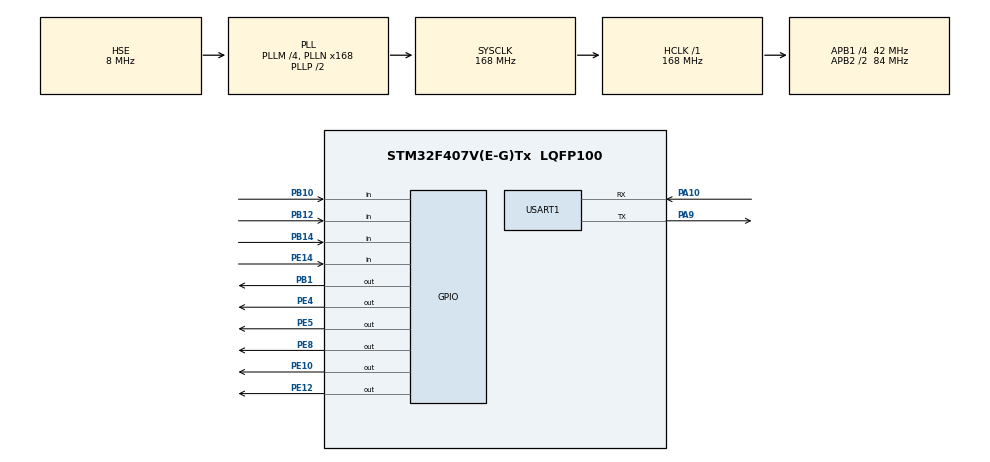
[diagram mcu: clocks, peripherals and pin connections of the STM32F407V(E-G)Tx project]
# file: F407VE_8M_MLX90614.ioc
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Mcu.Family=STM32F4
PE12.GPIO_ModeDefaultOutputPP=GPIO_MODE_OUTPUT_PP
PE8.PinState=GPIO_PIN_SET
PH0-OSC_IN.Signal=RCC_OSC_IN
PE4.GPIO_ModeDefaultOutputPP=GPIO_MODE_OUTPUT_PP
RCC.CortexFreq_Value=168000000
PB10.GPIO_PuPd=GPIO_PULLDOWN
PE8.GPIO_PuPd=GPIO_PULLUP
PE10.GPIO_PuPd=GPIO_PULLUP
RCC.SYSCLKSource=RCC_SYSCLKSOURCE_PLLCLK
ProjectManager.StackSize=0x400
PE5.GPIO_PuPd=GPIO_PULLUP
PB1.GPIO_PuPd=GPIO_PULLUP
RCC.HCLKFreq_Value=168000000
RCC.APB2TimFreq_Value=168000000
PE5.Signal=GPIO_Output
RCC.AHBFreq_Value=168000000
PH0-OSC_IN.Mode=HSE-External-Oscillator
RCC.HSE_VALUE=8000000
PC14-OSC32_IN.Mode=LSE-External-Oscillator
PB1.GPIO_Speed=GPIO_SPEED_FREQ_VERY_HIGH
PA14.Mode=Serial_Wire
PE4.GPIO_Speed=GPIO_SPEED_FREQ_VERY_HIGH
PE5.PinState=GPIO_PIN_SET
PE10.GPIO_ModeDefaultOutputPP=GPIO_MODE_OUTPUT_PP
PE10.GPIO_Speed=GPIO_SPEED_FREQ_VERY_HIGH
PE4.Signal=GPIO_Output
PE10.Signal=GPIO_Output
PB1.PinState=GPIO_PIN_SET
PH1-OSC_OUT.Mode=HSE-External-Oscillator
PB12.GPIO_Mode=GPIO_MODE_INPUT
Mcu.Package=LQFP100
PB1.Signal=GPIO_Output
PB14.GPIO_PuPd=GPIO_PULLDOWN
PA10.Signal=USART1_RX
PE12.GPIO_Speed=GPIO_SPEED_FREQ_VERY_HIGH
PE8.GPIO_Speed=GPIO_SPEED_FREQ_VERY_HIGH
RCC.APB2CLKDivider=RCC_HCLK_DIV2
RCC.APB1TimFreq_Value=84000000
PE8.GPIO_ModeDefaultOutputPP=GPIO_MODE_OUTPUT_PP
PE14.GPIO_Mode=GPIO_MODE_INPUT
NVIC.USART1_IRQn=true\:0\:0\:false\:false\:true\:true\:true
PE12.GPIO_PuPd=GPIO_PULLUP
PE10.PinState=GPIO_PIN_SET
RCC.PLLSourceVirtual=RCC_PLLSOURCE_HSE
PC15-OSC32_OUT.Mode=LSE-External-Oscillator
PA10.Mode=Asynchronous
RCC.APB1CLKDivider=RCC_HCLK_DIV4
PC14-OSC32_IN.Signal=RCC_OSC32_IN
PA13.Signal=SYS_JTMS-SWDIO
PA9.Mode=Asynchronous
PB10.GPIO_Mode=GPIO_MODE_INPUT
ProjectManager.TargetToolchain=MDK-ARM V5.27
PA9.Signal=USART1_TX
PC15-OSC32_OUT.Signal=RCC_OSC32_OUT
PB10.Signal=GPIO_Input
PB14.Signal=GPIO_Input
board=custom
RCC.VCOOutputFreq_Value=336000000
RCC.APB2Freq_Value=84000000
PE14.Signal=GPIO_Input
PE8.Signal=GPIO_Output
PH1-OSC_OUT.Signal=RCC_OSC_OUT
PE14.GPIO_PuPd=GPIO_PULLDOWN
PA13.Mode=Serial_Wire
Mcu.Name=STM32F407V(E-G)Tx
PE12.Signal=GPIO_Output
PE4.GPIO_PuPd=GPIO_PULLUP
PE12.PinState=GPIO_PIN_SET
RCC.48MHZClocksFreq_Value=84000000
RCC.SYSCLKFreq_VALUE=168000000
USART1.VirtualMode=VM_ASYNC
PA14.Signal=SYS_JTCK-SWCLK
ProjectManager.HeapSize=0x200
PE5.GPIO_ModeDefaultOutputPP=GPIO_MODE_OUTPUT_PP
RCC.HSI_VALUE=16000000
NVIC.PriorityGroup=NVIC_PRIORITYGROUP_4
RCC.PLLM=4
RCC.PLLN=168
PE5.GPIO_Speed=GPIO_SPEED_FREQ_VERY_HIGH
PE4.PinState=GPIO_PIN_SET
PB1.GPIO_ModeDefaultOutputPP=GPIO_MODE_OUTPUT_PP
PB12.GPIO_PuPd=GPIO_PULLDOWN
RCC.APB1Freq_Value=42000000
PB14.GPIO_Mode=GPIO_MODE_INPUT
PB12.Signal=GPIO_Input

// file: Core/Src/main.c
/* USER CODE BEGIN Header */
/**
  ******************************************************************************
  * @file           : main.c
  * @brief          : Main program body
  ******************************************************************************
  * @attention
  *
  * <h2><center>&copy; Copyright (c) 2021 STMicroelectronics.
  * All rights reserved.</center></h2>
  *
  * This software component is licensed by ST under BSD 3-Clause license,
  * the "License"; You may not use this file except in compliance with the
  * License. You may obtain a copy of the License at:
  *                        opensource.org/licenses/BSD-3-Clause
  *
  ******************************************************************************
  */
/* USER CODE END Header */
#include "main.h"
#include "usart.h"
#include "gpio.h"

/* USER CODE BEGIN Includes */
#include "Delay/delay.h"
#include "MLX90614/mlx90614.h"
#include "OLED/oled_iic.h"
/* USER CODE END Includes */

void SystemClock_Config(void);

int main(void)
{
  /* USER CODE BEGIN 1 */
  float ambTemp,objTemp;
  /* USER CODE END 1 */

  /* MCU Configuration--------------------------------------------------------*/

  /* Reset of all peripherals, Initializes the Flash interface and the Systick. */
  HAL_Init();

  /* Configure the system clock */
  SystemClock_Config();

  /* Initialize all configured peripherals */
  MX_GPIO_Init();
  MX_USART1_UART_Init();
  /* USER CODE BEGIN 2 */
  Delay_Init(168);
  OLED_Init();
  MLX90614_Init();
  MLX90614_SetI2CAddr(0x5A,0);
  Delay_ms(100);

  /* USER CODE END 2 */

  /* Infinite loop */
  while (1)
  {

    /* USER CODE BEGIN 3 */
    ambTemp=MLX90614_GetTemp(MLX90614_TEMP_AMBIENT);
    Delay_ms(50);
    objTemp=MLX90614_GetTemp(MLX90614_TEMP_OBJECT);
    OLED_ShowStr(0,0,"Tamb:            ",TEXTSIZE_SMALL,REVERSE_OFF);
    OLED_ShowStr(0,1,"Tobj:            ",TEXTSIZE_SMALL,REVERSE_OFF);
    OLED_ShowFloat(5*6,0,ambTemp,TEXTSIZE_SMALL,REVERSE_OFF);
    OLED_ShowFloat(5*6,1,objTemp,TEXTSIZE_SMALL,REVERSE_OFF);
    Delay_ms(200);

  }
  /* USER CODE END 3 */
}

void SystemClock_Config(void)
{
  RCC_OscInitTypeDef RCC_OscInitStruct = {0};
  RCC_ClkInitTypeDef RCC_ClkInitStruct = {0};

  /** Configure the main internal regulator output voltage
  */
  __HAL_RCC_PWR_CLK_ENABLE();
  __HAL_PWR_VOLTAGESCALING_CONFIG(PWR_REGULATOR_VOLTAGE_SCALE1);
  /** Initializes the RCC Oscillators according to the specified parameters
  * in the RCC_OscInitTypeDef structure.
  */
  RCC_OscInitStruct.OscillatorType = RCC_OSCILLATORTYPE_HSE;
  RCC_OscInitStruct.HSEState = RCC_HSE_ON;
  RCC_OscInitStruct.PLL.PLLState = RCC_PLL_ON;
  RCC_OscInitStruct.PLL.PLLSource = RCC_PLLSOURCE_HSE;
  RCC_OscInitStruct.PLL.PLLM = 4;
  RCC_OscInitStruct.PLL.PLLN = 168;
  RCC_OscInitStruct.PLL.PLLP = RCC_PLLP_DIV2;
  RCC_OscInitStruct.PLL.PLLQ = 4;
  if (HAL_RCC_OscConfig(&RCC_OscInitStruct) != HAL_OK)
  {
    Error_Handler();
  }
  /** Initializes the CPU, AHB and APB buses clocks
  */
  RCC_ClkInitStruct.ClockType = RCC_CLOCKTYPE_HCLK|RCC_CLOCKTYPE_SYSCLK
                              |RCC_CLOCKTYPE_PCLK1|RCC_CLOCKTYPE_PCLK2;
  RCC_ClkInitStruct.SYSCLKSource = RCC_SYSCLKSOURCE_PLLCLK;
  RCC_ClkInitStruct.AHBCLKDivider = RCC_SYSCLK_DIV1;
  RCC_ClkInitStruct.APB1CLKDivider = RCC_HCLK_DIV4;
  RCC_ClkInitStruct.APB2CLKDivider = RCC_HCLK_DIV2;

  if (HAL_RCC_ClockConfig(&RCC_ClkInitStruct, FLASH_LATENCY_5) != HAL_OK)
  {
    Error_Handler();
  }
}

void Error_Handler(void)
{
  __disable_irq();
  while (1)
  {
  }
}

/************************ (C) COPYRIGHT STMicroelectronics *****END OF FILE****/
